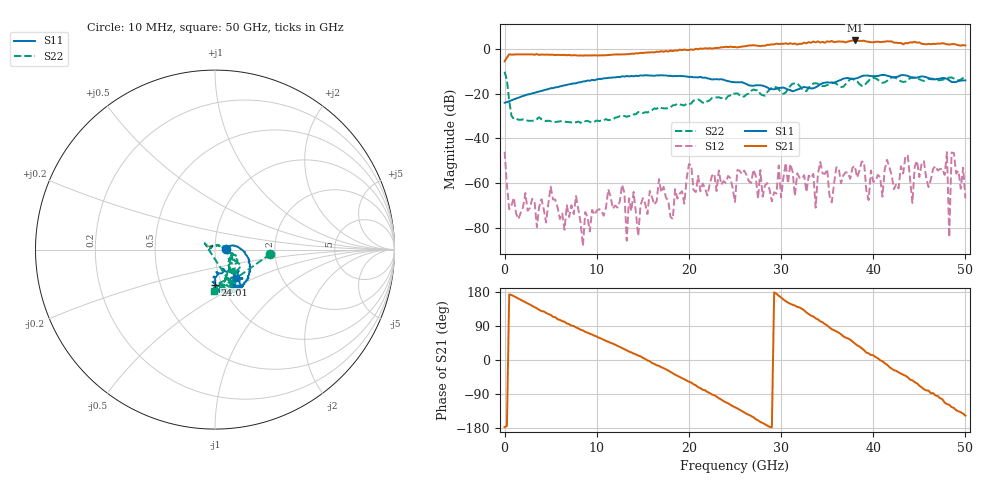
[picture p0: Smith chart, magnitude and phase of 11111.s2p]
!Agilent Technologies,E8364C,MY43040239,A.09.42.22
!Agilent E8364C: A.09.42.22
!Date: Sunday, September 14, 2025 22:28:20
!Correction: S11(Full 2 Port(1,2))
!S21(Full 2 Port(1,2))
!S12(Full 2 Port(1,2))
!S22(Full 2 Port(1,2))
!S2P File: Measurements: S11, S21, S12, S22:
# Hz S  RI  R 50
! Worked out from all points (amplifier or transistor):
!   201 points, 10 MHz to 50 GHz, reference 50 ohm
!   highest |S21| = 3.9 dB at 38 GHz (marker M1)
!   |S21| within 3 dB of that: 25.4 GHz to end of sweep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
!   unconditionally stable (mu >= 1): start of sweep to end of sweep
!   at 8.258 GHz: K = 5224.87, MAG = -2.7 dB, |S12| = -77.8 dB
!   at 25 GHz: K = 1149.29, MAG = 1.1 dB, |S12| = -68.5 dB
!   at 50 GHz: K = 839.71, MAG = 2.0 dB, |S12| = -66.9 dB
!   S11 on the Smith chart (normalised r, x): 10 MHz: 1.13, +0.01; 24.01 GHz: 0.93, -0.38; 50 GHz: 1.19, -0.40
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1e7  0.0626 0.0041  -0.5315 -0.0266  -0.00151 -0.00477  0.309 -0.0238
1.5097e9  0.0788 0.0188  -0.7246 0.2335  -0.000107 0.000113  -0.025 0.00736
5.009e9  0.1316 0.0131  -0.3632 0.6507  0.000431 0.000702  -0.0159 0.018
8.5083e9  0.183 -0.044  0.148 0.6965  3.77e-05 -6.61e-06  -0.00278 0.0242
1.275745e10  0.1875 -0.1581  0.6495 0.3986  1.16e-05 -0.000913  0.0213 0.0221
1.45071e10  0.1559 -0.1939  0.7837 0.1617  -4.72e-05 -4.38e-05  0.0322 0.0216
1.675665e10  0.1133 -0.2304  0.8322 -0.2322  -0.000743 -0.000967  0.0472 0.0166
1.825635e10  0.0775 -0.2336  0.7328 -0.5209  0.000146 5.43e-05  0.0546 0.00459
2.0006e10  0.0481 -0.2328  0.5137 -0.8029  -0.00263 -0.000147  0.0572 -0.00738
2.40052e10  0.000114 -0.1969  -0.4141 -1.045  0.000586 0.00082  0.0726 -0.0226
2.5005e10  -0.0142 -0.1804  -0.6337 -0.9133  -7.12e-07 0.000375  0.0977 -0.0237
3.35033e10  0.0765 -0.1077  -0.6182 1.339  0.00159 0.000112  0.1046 -0.1329
3.80024e10  0.1389 -0.1657  1.128 1.075  0.00136 -0.002  0.1283 -0.156
4.175165e10  0.1343 -0.2053  1.412 -0.4709  -0.00155 0.00163  0.0502 -0.2128
4.375125e10  0.1239 -0.2181  0.9454 -0.9632  -0.00397 0.00107  0.0298 -0.2087
4.425115e10  0.1077 -0.1995  0.8332 -1.129  0.000328 0.000139  0.0396 -0.2283
4.475105e10  0.0916 -0.2084  0.6619 -1.228  0.00221 0.0022  0.0578 -0.2153
4.80004e10  0.114 -0.1822  -0.5678 -1.149  -0.00129 0.00472  0.00555 -0.2246
4.825035e10  0.1081 -0.1656  -0.5969 -1.112  -5.04e-05 -3.37e-05  0.0156 -0.2282
4.85003e10  0.0986 -0.1545  -0.7216 -1.067  -0.00144 0.00459  0.0261 -0.2295
4.875025e10  0.0905 -0.157  -0.7751 -1.041  -0.00243 0.004  0.0291 -0.2158
5e10  0.1169 -0.1606  -1.004 -0.6589  0.000313 -0.000324  -0.00594 -0.2307
